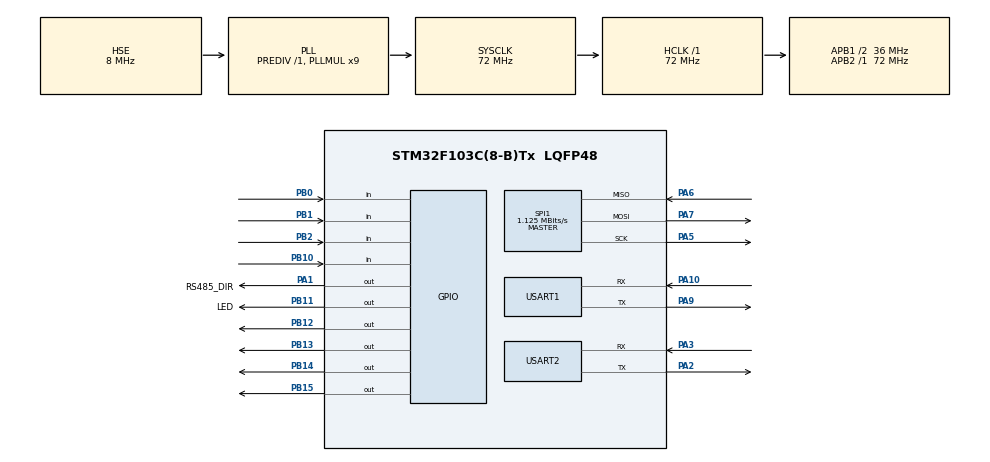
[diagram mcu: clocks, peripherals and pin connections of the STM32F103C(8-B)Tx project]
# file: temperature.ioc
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Dma.Request0=USART1_TX
Dma.USART1_TX.0.Direction=DMA_MEMORY_TO_PERIPH
Dma.USART1_TX.0.Instance=DMA1_Channel4
Dma.USART1_TX.0.MemDataAlignment=DMA_MDATAALIGN_BYTE
Dma.USART1_TX.0.MemInc=DMA_MINC_ENABLE
Dma.USART1_TX.0.Mode=DMA_NORMAL
Dma.USART1_TX.0.PeriphDataAlignment=DMA_PDATAALIGN_BYTE
Dma.USART1_TX.0.PeriphInc=DMA_PINC_DISABLE
Dma.USART1_TX.0.Priority=DMA_PRIORITY_LOW
Mcu.Family=STM32F1
Mcu.Name=STM32F103C(8-B)Tx
Mcu.Package=LQFP48
NVIC.DMA1_Channel4_IRQn=true\:0\:0\:false\:false\:true\:false\:true\:true
NVIC.PriorityGroup=NVIC_PRIORITYGROUP_4
PA1.GPIO_Label=RS485_DIR
PA1.Signal=GPIO_Output
PA10.Mode=Asynchronous
PA10.Signal=USART1_RX
PA13.Mode=Serial_Wire
PA13.Signal=SYS_JTMS-SWDIO
PA14.Mode=Serial_Wire
PA14.Signal=SYS_JTCK-SWCLK
PA2.Mode=Asynchronous
PA2.Signal=USART2_TX
PA3.Mode=Asynchronous
PA3.Signal=USART2_RX
PA5.Mode=Full_Duplex_Master
PA5.Signal=SPI1_SCK
PA6.Mode=Full_Duplex_Master
PA6.Signal=SPI1_MISO
PA7.Mode=Full_Duplex_Master
PA7.Signal=SPI1_MOSI
PA9.Mode=Asynchronous
PA9.Signal=USART1_TX
PB0.GPIO_PuPd=GPIO_PULLUP
PB0.Signal=GPIO_Input
PB1.GPIO_PuPd=GPIO_PULLUP
PB1.Signal=GPIO_Input
PB10.GPIO_PuPd=GPIO_PULLUP
PB10.Signal=GPIO_Input
PB11.GPIO_Label=LED
PB11.Signal=GPIO_Output
PB12.GPIO_PuPd=GPIO_PULLUP
PB12.Signal=GPIO_Output
PB13.GPIO_PuPd=GPIO_PULLUP
PB13.Signal=GPIO_Output
PB14.GPIO_PuPd=GPIO_PULLUP
PB14.Signal=GPIO_Output
PB15.GPIO_PuPd=GPIO_PULLUP
PB15.Signal=GPIO_Output
PB2.GPIO_PuPd=GPIO_PULLUP
PB2.Signal=GPIO_Input
PD0-OSC_IN.Mode=HSE-External-Oscillator
PD0-OSC_IN.Signal=RCC_OSC_IN
PD1-OSC_OUT.Mode=HSE-External-Oscillator
PD1-OSC_OUT.Signal=RCC_OSC_OUT
ProjectManager.HeapSize=0x200
ProjectManager.StackSize=0x400
ProjectManager.TargetToolchain=MDK-ARM V5.32
RCC.AHBFreq_Value=72000000
RCC.APB1CLKDivider=RCC_HCLK_DIV2
RCC.APB1Freq_Value=36000000
RCC.APB1TimFreq_Value=72000000
RCC.APB2Freq_Value=72000000
RCC.APB2TimFreq_Value=72000000
RCC.HCLKFreq_Value=72000000
RCC.PLLMUL=RCC_PLL_MUL9
RCC.PLLSourceVirtual=RCC_PLLSOURCE_HSE
RCC.SYSCLKFreq_VALUE=72000000
RCC.SYSCLKSource=RCC_SYSCLKSOURCE_PLLCLK
RCC.USBFreq_Value=72000000
SPI1.BaudRatePrescaler=SPI_BAUDRATEPRESCALER_64
SPI1.CLKPhase=SPI_PHASE_2EDGE
SPI1.CalculateBaudRate=1.125 MBits/s
SPI1.Direction=SPI_DIRECTION_2LINES
SPI1.Mode=SPI_MODE_MASTER
SPI1.VirtualType=VM_MASTER
USART1.VirtualMode=VM_ASYNC
USART2.VirtualMode=VM_ASYNC
VP_TIM1_VS_ClockSourceINT.Mode=Internal
board=custom

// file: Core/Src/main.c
/* USER CODE BEGIN Header */
/**
 ******************************************************************************
 * @file           : main.c
 * @brief          : Main program body
 ******************************************************************************
 * @attention
 *
 * Copyright (c) 2026 STMicroelectronics.
 * All rights reserved.
 *
 * This software is licensed under terms that can be found in the LICENSE file
 * in the root directory of this software component.
 * If no LICENSE file comes with this software, it is provided AS-IS.
 *
 ******************************************************************************
 */
/* USER CODE END Header */
#include "main.h"
#include "dma.h"
#include "spi.h"
#include "tim.h"
#include "usart.h"
#include "gpio.h"

/* USER CODE BEGIN Includes */
#include <stdio.h>
#include <math.h>
#include <string.h> // ���� strlen
/* USER CODE END Includes */

void SystemClock_Config(void);

/* USER CODE BEGIN 0 */
// ---------------- 1. 硬件引脚映射 ----------------
const uint16_t CS_PINS[4] = {GPIO_PIN_12, GPIO_PIN_13, GPIO_PIN_14, GPIO_PIN_15};
const uint16_t DRDY_PINS[4] = {GPIO_PIN_0, GPIO_PIN_1, GPIO_PIN_2, GPIO_PIN_10};

#define CMD_RESET 0x06
#define CMD_START_SYNC 0x08
#define CMD_RDATA 0x10
#define FILTER_N 10

// ---------------- 2. 底层 SPI 与安全互斥片选 ----------------
static uint16_t last_cs_pin = 0; // 记住上次选中的CS，O(1)替代O(n)遍历

void Safe_CS_Select(uint16_t target_cs_pin)
{
    // 仅关断上一次选中的通道
    if (last_cs_pin != 0 && last_cs_pin != target_cs_pin)
    {
        HAL_GPIO_WritePin(GPIOB, last_cs_pin, GPIO_PIN_SET);
    }
    // 拉低(打开)当前需要的通道
    HAL_GPIO_WritePin(GPIOB, target_cs_pin, GPIO_PIN_RESET);
    last_cs_pin = target_cs_pin;
    // 满足手册 t_d(CSSC) ≥ 50ns (CS下降沿到第一个SCLK上升沿)
    __NOP();
    __NOP();
}

void Safe_CS_Deselect(uint16_t target_cs_pin)
{
    HAL_GPIO_WritePin(GPIOB, target_cs_pin, GPIO_PIN_SET);
}

uint8_t ADS1220_SPI_Transfer(uint8_t data)
{
    uint8_t rxData = 0;
    HAL_SPI_TransmitReceive(&hspi1, &data, &rxData, 1, 100);
    return rxData;
}

void ADS1220_WriteReg(uint16_t cs_pin, uint8_t regAddr, uint8_t data)
{
    Safe_CS_Select(cs_pin);
    ADS1220_SPI_Transfer(0x40 | (regAddr << 2));
    ADS1220_SPI_Transfer(data);
    Safe_CS_Deselect(cs_pin);
}

// ---------------- 3. 初始化与读取逻辑 ----------------

// ---------------- 4. 算法部分 ----------------
// IEC 60751 Callendar-Van Dusen 公式 (PT1000), Newton-Raphson 迭代求解
float PT1000_ResistanceToTemperature(float resistance)
{
    const float R0 = 1000.0f;
    const float A = 3.9083e-3f;
    const float B = -5.775e-7f;
    const float C = -4.183e-12f; // 仅负温区使用

    // 初始估计：线性近似
    float t = (resistance - R0) / (R0 * A);
    if (t > 850.0f)
        t = 850.0f;
    else if (t < -200.0f)
        t = -200.0f;

    // Newton-Raphson 迭代 (最多5次, 收敛阈值 0.0001°C)
    for (int iter = 0; iter < 5; iter++)
    {
        float rt, deriv;
        if (t >= 0.0f)
        {
            rt = R0 * (1.0f + A * t + B * t * t);
            deriv = R0 * (A + 2.0f * B * t);
        }
        else
        {
            float t2 = t * t;
            float t3 = t2 * t;
            rt = R0 * (1.0f + A * t + B * t2 + C * (t - 100.0f) * t3);
            deriv = R0 * (A + 2.0f * B * t + C * (4.0f * t3 - 300.0f * t2));
        }
        float delta = (resistance - rt) / deriv;
        t += delta;
        if (fabsf(delta) < 0.0001f)
            break;
    }
    return t;
}

float Moving_Average_Filter(uint8_t ch_idx, float new_temp)
{
    static float temp_buffer[4][FILTER_N] = {0}; // 4路独立的滤波池
    static uint8_t index[4] = {0};
    static uint8_t is_full[4] = {0};
    float sum = 0.0f;

    temp_buffer[ch_idx][index[ch_idx]] = new_temp;
    index[ch_idx]++;
    if (index[ch_idx] >= FILTER_N)
    {
        index[ch_idx] = 0;
        is_full[ch_idx] = 1;
    }

    if (!is_full[ch_idx])
        return new_temp;

    for (uint8_t i = 0; i < FILTER_N; i++)
    {
        sum += temp_buffer[ch_idx][i];
    }
    return sum / FILTER_N;
}
/**
 * @brief  初始化特定通道的 ADS1220 (完美适配 PT1000)
 */
void ADS1220_Init(uint16_t cs_pin)
{
    // 软件复位, 手册§8.5.3.1: RESET后需≥50μs+32×t_CLK≈58μs
    Safe_CS_Select(cs_pin);
    ADS1220_SPI_Transfer(CMD_RESET);
    Safe_CS_Deselect(cs_pin);
    HAL_Delay(1);

    // Reg0=0x32: MUX=0011(AIN_P=AIN1,AIN_N=AIN2), GAIN=001(2x), PGA启用
    ADS1220_WriteReg(cs_pin, 0x00, 0x32);
    // Reg1=0x04: DR=000(20SPS), MODE=00(正常), CM=1(连续转换), TS=0, BCS=0
    ADS1220_WriteReg(cs_pin, 0x01, 0x04);
    // Reg2=0x54: VREF=01(外部REFP0/REFN0), 50/60=01(同时抑制), IDAC=100b(250μA)
    ADS1220_WriteReg(cs_pin, 0x02, 0x54);
    // Reg3=0x20: I1MUX=001(IDAC1→AIN0), I2MUX=000(IDAC2禁用), DRDYM=0
    ADS1220_WriteReg(cs_pin, 0x03, 0x20);
}

/**
 * @brief  读取 24位 ADC 并解算阻值 (防死锁安全版)
 */
float ADS1220_Read_PT1000_Resistance(uint16_t cs_pin, uint16_t drdy_pin)
{
    uint32_t rawData = 0;
    int32_t signedData = 0;

    // 1. 发送同步命令触发这一次单次转换
    Safe_CS_Select(cs_pin);
    ADS1220_SPI_Transfer(CMD_START_SYNC);
    Safe_CS_Deselect(cs_pin);

    // 【致命修复3】必须等 2 毫秒！让 ADS1220 有时间把 DRDY 拉高，防止 STM32 读到上一轮的低电平！
    HAL_Delay(2);

    // 2. 死等 DRDY 引脚被拉低 (转换完成)
    uint32_t start_time = HAL_GetTick();
    while (HAL_GPIO_ReadPin(GPIOB, drdy_pin) == GPIO_PIN_SET)
    {
        if ((HAL_GetTick() - start_time) > 80)
            return -1.0; // 20SPS转换约50ms, 80ms足矣
    }

    // 3. 读取 24 位数据
    Safe_CS_Select(cs_pin);
    ADS1220_SPI_Transfer(CMD_RDATA);
    rawData |= ADS1220_SPI_Transfer(0xFF) << 16;
    rawData |= ADS1220_SPI_Transfer(0xFF) << 8;
    rawData |= ADS1220_SPI_Transfer(0xFF);
    Safe_CS_Deselect(cs_pin);

    // 4. 补码换算
    if (rawData & 0x800000)
    {
        signedData = (int32_t)(rawData | 0xFF000000);
    }
    else
    {
        signedData = (int32_t)rawData;
    }

    // 换算公式: 基准电阻 4k, 增益 2 倍
    return ((float)signedData * 4000.0f) / (2.0f * 8388608.0f);
}

/**
 * @brief  发送命令：并发触发转换专用
 */
void ADS1220_Start_Conversion(uint16_t cs_pin)
{
    Safe_CS_Select(cs_pin);
    ADS1220_SPI_Transfer(CMD_START_SYNC);
    Safe_CS_Deselect(cs_pin);
}

/**
 * @brief  纯净读取函数：不包含等待，直接去 SPI 总线拿 24 位数据
 */
// 手册§8.5.4: DRDY=0时可直接读24bit数据, 无需RDATA命令
float ADS1220_Fetch_PT1000_Resistance(uint16_t cs_pin)
{
    uint32_t rawData = 0;
    int32_t signedData = 0;

    Safe_CS_Select(cs_pin);
    rawData |= ADS1220_SPI_Transfer(0xFF) << 16;
    rawData |= ADS1220_SPI_Transfer(0xFF) << 8;
    rawData |= ADS1220_SPI_Transfer(0xFF);
    Safe_CS_Deselect(cs_pin);

    // 补码换算
    if (rawData & 0x800000)
    {
        signedData = (int32_t)(rawData | 0xFF000000);
    }
    else
    {
        signedData = (int32_t)rawData;
    }

    return ((float)signedData * 4000.0f) / (2.0f * 8388608.0f);
}
/* USER CODE END 0 */

int main(void)
{

  /* MCU Configuration--------------------------------------------------------*/

  /* Reset of all peripherals, Initializes the Flash interface and the Systick. */
  HAL_Init();

  /* Configure the system clock */
  SystemClock_Config();

  /* Initialize all configured peripherals */
  MX_GPIO_Init();
  MX_DMA_Init();
  MX_SPI1_Init();
  MX_TIM1_Init();
  MX_USART1_UART_Init();
  MX_USART2_UART_Init();
  /* USER CODE BEGIN 2 */

    char uart_buf[100];
    sprintf(uart_buf, "\r\n==================================\r\n");
    HAL_UART_Transmit(&huart1, (uint8_t *)uart_buf, strlen(uart_buf), 100);

    // 1. 初始化前，强行拉高所有 CS 引脚
    for (int i = 0; i < 4; i++)
    {
        HAL_GPIO_WritePin(GPIOB, CS_PINS[i], GPIO_PIN_SET);
    }
    HAL_Delay(100);

    // 2. 依次初始化 4 个通道的 ADS1220
    for (int i = 0; i < 4; i++)
    {
        ADS1220_Init(CS_PINS[i]);
        HAL_Delay(10);
    }

    sprintf(uart_buf, "4-CH PT1000 Initialization OK!\r\n");
    HAL_UART_Transmit(&huart1, (uint8_t *)uart_buf, strlen(uart_buf), 100);

    // 3. 发送一次START/SYNC启动4路连续转换 (§8.4.2.2: CM=1时发一次即可)
    for (int i = 0; i < 4; i++)
    {
        ADS1220_Start_Conversion(CS_PINS[i]);
    }

  /* USER CODE END 2 */

  /* Infinite loop */
    while (1)
    {

    /* USER CODE BEGIN 3 */
        static char uart1_tx_buf[4][100];

        // ==========================================================
        // 连续转换模式: 只需等待4路DRDY被拉低, 每通道独立超时80ms
        // ==========================================================
        uint32_t global_start = HAL_GetTick();
        uint32_t ch_timeout[4] = {0}; // 各通道独立起始时间
        uint8_t ready_mask = 0x00;

        while (ready_mask != 0x0F)
        {
            uint32_t now = HAL_GetTick();
            for (int i = 0; i < 4; i++)
            {
                if ((ready_mask & (1 << i)) != 0)
                    continue; // 已就绪, 跳过
                if (HAL_GPIO_ReadPin(GPIOB, DRDY_PINS[i]) == GPIO_PIN_RESET)
                {
                    ready_mask |= (1 << i);
                }
                else
                {
                    uint32_t elapsed = now - (ch_timeout[i] ? ch_timeout[i] : global_start);
                    if (elapsed > 80)
                    {
                        ready_mask |= (1 << i); // 标记为"处理", 但数据无效
                    }
                }
            }
            // 若全部通道都已标记 (就绪或超时), 退出
        }

        // ==========================================================
        // 阶段 3：【极速连读与发送】—— 取回数据并推向 RS485 总线
        // ==========================================================
        for (int i = 0; i < 4; i++)
        {
            float res = -1.0f;

            // 检查刚才的 while 循环中，这个通道是否真的转换成功了
            if ((ready_mask & (1 << i)) != 0)
            {
                res = ADS1220_Fetch_PT1000_Resistance(CS_PINS[i]);
            }

            // 准备串口2 (RS485) 的协议帧缓冲区 (固定 9 字节)
            uint8_t tx_frame[9];
            tx_frame[0] = 0xAA;
            tx_frame[1] = 0x55;
            tx_frame[2] = i + 1;

            if (res > 0)
            {
                // 阻值正常，解算并滤波
                float raw_temp = PT1000_ResistanceToTemperature(res);
                float smooth_temp = Moving_Average_Filter(i, raw_temp);

                // [串口1 DMA]
                sprintf(uart1_tx_buf[i], "CH%d T: %.4f C\r\n", i + 1, smooth_temp);
                HAL_UART_Transmit_DMA(&huart1, (uint8_t *)uart1_tx_buf[i], strlen(uart1_tx_buf[i]));

                // [串口2 RS485] 正常帧装载
                tx_frame[3] = 0x00;
                uint8_t *pTemp = (uint8_t *)&smooth_temp;
                tx_frame[4] = pTemp[0];
                tx_frame[5] = pTemp[1];
                tx_frame[6] = pTemp[2];
                tx_frame[7] = pTemp[3];
            }
            else
            {
                // 超时或未连接
                sprintf(uart1_tx_buf[i], "CH%d Error!\r\n", i + 1);
                HAL_UART_Transmit_DMA(&huart1, (uint8_t *)uart1_tx_buf[i], strlen(uart1_tx_buf[i]));

                // [串口2 RS485] 错误帧装载
                tx_frame[3] = 0x01;
                tx_frame[4] = 0x00;
                tx_frame[5] = 0x00;
                tx_frame[6] = 0x00;
                tx_frame[7] = 0x00;
            }

            // 计算校验和
            uint8_t sum = 0;
            for (int j = 2; j <= 7; j++)
            {
                sum += tx_frame[j];
            }
            tx_frame[8] = sum;

            // 【核心操作】：RS-485 极速阻塞发送
            HAL_GPIO_WritePin(GPIOA, GPIO_PIN_1, GPIO_PIN_SET); // TX
            HAL_UART_Transmit(&huart2, tx_frame, 9, 100);
            HAL_GPIO_WritePin(GPIOA, GPIO_PIN_1, GPIO_PIN_RESET); // RX
        }

        HAL_GPIO_TogglePin(LED_GPIO_Port, LED_Pin); // 用 LED 监控刷新率，现在它会闪得非常快！
    }
  /* USER CODE END 3 */
}

void SystemClock_Config(void)
{
  RCC_OscInitTypeDef RCC_OscInitStruct = {0};
  RCC_ClkInitTypeDef RCC_ClkInitStruct = {0};

  /** Initializes the RCC Oscillators according to the specified parameters
  * in the RCC_OscInitTypeDef structure.
  */
  RCC_OscInitStruct.OscillatorType = RCC_OSCILLATORTYPE_HSE;
  RCC_OscInitStruct.HSEState = RCC_HSE_ON;
  RCC_OscInitStruct.HSEPredivValue = RCC_HSE_PREDIV_DIV1;
  RCC_OscInitStruct.HSIState = RCC_HSI_ON;
  RCC_OscInitStruct.PLL.PLLState = RCC_PLL_ON;
  RCC_OscInitStruct.PLL.PLLSource = RCC_PLLSOURCE_HSE;
  RCC_OscInitStruct.PLL.PLLMUL = RCC_PLL_MUL9;
  if (HAL_RCC_OscConfig(&RCC_OscInitStruct) != HAL_OK)
  {
    Error_Handler();
  }

  /** Initializes the CPU, AHB and APB buses clocks
  */
  RCC_ClkInitStruct.ClockType = RCC_CLOCKTYPE_HCLK|RCC_CLOCKTYPE_SYSCLK
                              |RCC_CLOCKTYPE_PCLK1|RCC_CLOCKTYPE_PCLK2;
  RCC_ClkInitStruct.SYSCLKSource = RCC_SYSCLKSOURCE_PLLCLK;
  RCC_ClkInitStruct.AHBCLKDivider = RCC_SYSCLK_DIV1;
  RCC_ClkInitStruct.APB1CLKDivider = RCC_HCLK_DIV2;
  RCC_ClkInitStruct.APB2CLKDivider = RCC_HCLK_DIV1;

  if (HAL_RCC_ClockConfig(&RCC_ClkInitStruct, FLASH_LATENCY_2) != HAL_OK)
  {
    Error_Handler();
  }
}

void Error_Handler(void)
{
    __disable_irq();
    while (1)
    {
    }
}
